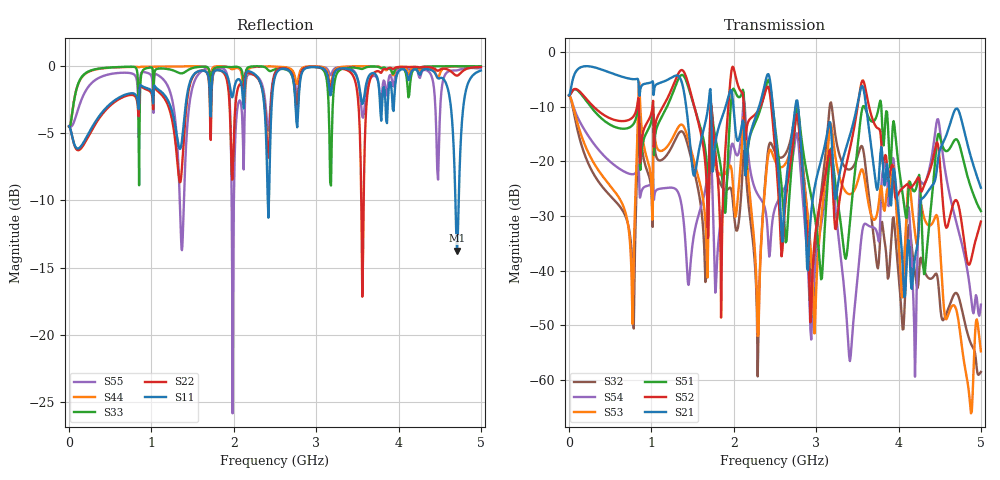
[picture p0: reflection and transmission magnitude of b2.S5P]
!Generated from: C:\Users\nkfzm\OneDrive - University of Missouri\Desktop\Research\PowerSI\Board 2.1 - GPGGGG\attempt 2.spd
! Port1_cap_port1_1::pwr
! Port2_cap_port2_1::pwr
! Port3_cap_port3_1::pwr
! Port4_cap_port4_1::pwr
! Port5_ic_port_1::pwr
!Layout Workbench Version: 24.1.0.10141.541387  000
!Computer Host Name: RS29JQCX3
!TouchstoneFormatFlag = 1
! GNDNET grd
! NETSLIST
#	Hz	Z	RI	R	1
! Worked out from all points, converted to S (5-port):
!   877 points, 100 kHz to 5 GHz, reference 1 ohm
!   strongest paths, dB at 100 kHz, 386 MHz, 1.31 GHz, 2.81 GHz, 5 GHz:
!     S21: -7.9, -3.2, -4.3, -15.9, -24.8
!     S52: -8.0, -11.2, -4.5, -17.6, -31.0
!     S51: -8.0, -12.1, -5.5, -14.4, -29.1
!     S53: -8.0, -22.3, -14.2, -17.1, -54.8
!     S54: -8.0, -18.4, -25.3, -21.7, -46.2
!     S32: -8.0, -24.3, -15.4, -15.9, -58.5
!   lowest |S11| = -13.7 dB at 4.71 GHz (marker M1), VSWR 1.52, Z = 0.666 - j0.0773 ohm
!   |S11| at or under -10 dB: 2.413 GHz to 2.426 GHz (13.52 MHz wide, 0.559 % of centre); 4.691 GHz to 4.731 GHz (40.1 MHz wide, 0.851 % of centre)
